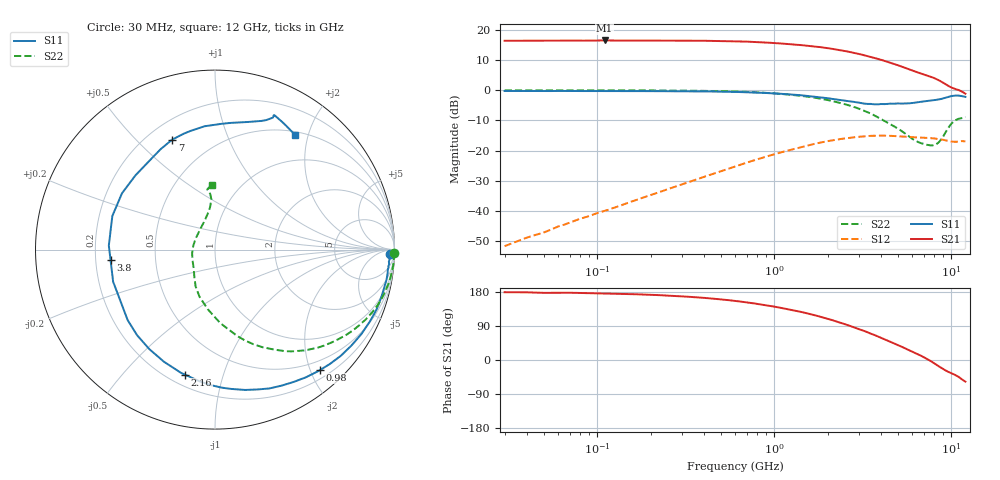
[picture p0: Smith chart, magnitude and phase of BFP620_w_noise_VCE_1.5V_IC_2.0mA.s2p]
! Infineon Technologies  Discrete & RF Semiconductors
! BFP620
! VCE =  1.5 V,  IC =  2.0 mA
! Common Emitter S-Parameters:  Nov 2015
# GHz  S  MA  R  50
!  f  S11  S21  S12  S22
! GHz  MAG  ANG  MAG  ANG  MAG  ANG  MAG  ANG
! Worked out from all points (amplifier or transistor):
!   239 points, 30 MHz to 12 GHz, reference 50 ohm
!   highest |S21| = 16.5 dB at 110 MHz (marker M1)
!   |S21| within 3 dB of that: start of sweep to 2.238 GHz
!   unconditionally stable (mu >= 1): 6.748 GHz to end of sweep
!   at 300 MHz: K = 0.03, MSG = 23.9 dB, |S12| = -31.2 dB
!   at 1.88 GHz: K = 0.30, MSG = 15.7 dB, |S12| = -17.2 dB
!   at 12 GHz: K = 1.49, MAG = 3.8 dB, |S12| = -16.9 dB
!   lowest NFmin = 0.64 dB at 450 MHz
!   S11 on the Smith chart (normalised r, x): 30 MHz: 38, -39; 980 MHz: 0.33, -2.16; 2.16 GHz: 0.26, -0.75; 3.8 GHz: 0.26, -0.05; 7 GHz: 0.30, +0.64; 12 GHz: 0.55, +1.79
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0.03  0.9744 -1.5  6.634 178.9  0.0026 86.2  0.9986 -1.0
0.085  0.9718 -4.2  6.669 176.6  0.0078 87.7  0.9985 -2.7
0.11  0.9696 -5.5  6.712 175.4  0.01 87.2  0.9979 -3.6
0.16  0.9706 -8.0  6.685 173.7  0.0146 85.6  0.9963 -5.1
0.24  0.9668 -11.9  6.667 170.4  0.022 83.4  0.9926 -7.7
0.4  0.96 -20.1  6.637 164.0  0.0366 78.5  0.9802 -12.7
0.6  0.9416 -30.0  6.494 156.0  0.0547 72.2  0.9571 -19.0
0.74  0.9237 -37.1  6.374 150.5  0.0666 67.6  0.9349 -23.1
0.98  0.8905 -48.8  6.107 141.5  0.0855 60.3  0.8929 -30.0
1.32  0.8411 -64.7  5.716 130.0  0.1084 50.8  0.8284 -38.8
1.64  0.7929 -79.8  5.386 119.8  0.1268 42.6  0.7647 -46.7
2.16  0.7161 -103.6  4.835 104.2  0.149 30.2  0.6554 -58.5
2.8  0.645 -132.3  4.206 86.7  0.1665 17.3  0.5337 -71.7
3.5  0.5951 -162.5  3.594 69.6  0.1758 5.2  0.4115 -85.8
3.8  0.5848 -174.3  3.351 63.2  0.1765 0.6  0.3641 -91.9
4.5  0.6018 161.9  2.883 48.4  0.176 -9.0  0.2758 -108.3
5.5  0.6062 136.9  2.347 30.1  0.1699 -19.0  0.1907 -127.1
7  0.6576 111.3  1.834 7.2  0.1636 -30.0  0.1293 -170.5
8.2  0.6943 90.7  1.542 -11.9  0.1575 -39.0  0.1272 140.9
9  0.7345 75.5  1.335 -24.3  0.151 -44.5  0.1724 109.2
10.4  0.8159 66.4  1.064 -38.5  0.1399 -48.3  0.3101 94.9
12  0.7789 55.0  0.877 -57.1  0.1421 -54.0  0.3611 92.5
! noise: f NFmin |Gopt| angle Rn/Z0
0.45  0.64  0.73  6  0.25
0.9  0.68  0.65  14  0.24
1.9  0.77  0.45  43  0.2
2.4  0.88  0.39  62  0.19
3.5  0.92  0.28  86  0.16
5.5  1.51  0.26  176  0.13
10  2.39  0.65  -60  1.15
